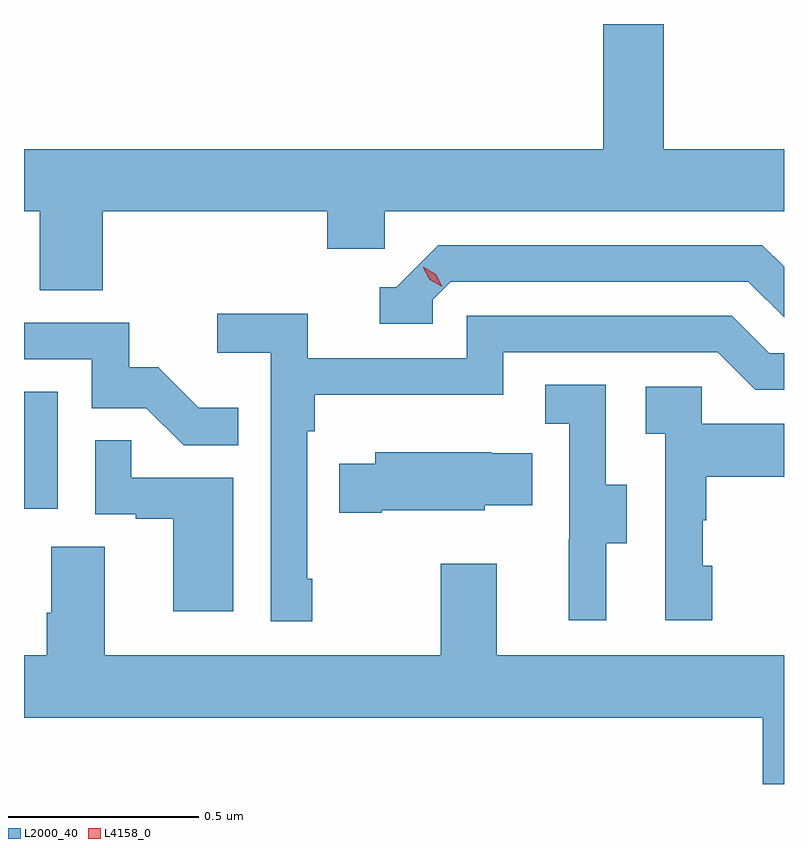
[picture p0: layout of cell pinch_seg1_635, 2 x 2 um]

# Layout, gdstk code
import gdstk
lib = gdstk.Library(unit=1e-6, precision=1e-09)
def R(c, l, rs):  # rectangles x0, y0, x1, y1
    for r in rs: c.add(gdstk.rectangle(r[:2], r[2:], *l))
def P(c, l, *ps):  # polygons
    for p in ps: c.add(gdstk.Polygon(p, *l))
L2000_40 = (2000, 40)
L4158_0 = (4158, 0)

pinch_seg1_635 = lib.new_cell('pinch_seg1_635')
R(pinch_seg1_635, L2000_40, [(1121.549,521.645,1121.638,521.953)])
P(pinch_seg1_635, L2000_40, [(1121.756,522.428),(1122.347,522.428),(1122.347,522.33),(1122.498,522.33),(1122.498,522.428),(1123.549,522.428),(1123.549,522.592),(1123.233,522.592),(1123.233,522.921),(1123.073,522.921),(1123.073,522.592),(1121.549,522.592),(1121.549,522.428),(1121.591,522.428),(1121.591,522.22),(1121.756,522.22)],
  [(1122.624,522.195),(1122.672,522.243),(1123.455,522.243),(1123.549,522.149),(1123.549,522.282),(1123.492,522.339),(1122.639,522.339),(1122.528,522.228),(1122.485,522.228),(1122.485,522.132),(1122.624,522.132)],
  [(1122.307,521.461),(1122.294,521.461),(1122.294,521.849),(1122.314,521.849),(1122.314,521.945),(1122.81,521.945),(1122.81,522.057),(1123.374,522.057),(1123.473,521.958),(1123.549,521.958),(1123.549,522.054),(1123.51,522.054),(1123.411,522.153),(1122.714,522.153),(1122.714,522.042),(1122.296,522.042),(1122.296,522.158),(1122.057,522.158),(1122.057,522.056),(1122.198,522.056),(1122.198,521.349),(1122.307,521.349)],
  [(1122.113,521.911),(1122.009,521.911),(1121.902,522.018),(1121.826,522.018),(1121.826,522.135),(1121.549,522.135),(1121.549,522.039),(1121.727,522.039),(1121.727,521.91),(1121.871,521.91),(1121.969,521.812),(1122.113,521.812)],
  [(1123.081,521.554),(1123.135,521.554),(1123.135,521.709),(1123.08,521.709),(1123.08,521.972),(1122.921,521.972),(1122.921,521.869),(1122.984,521.869),(1122.984,521.565),(1122.983,521.565),(1122.983,521.352),(1123.081,521.352)],
  [(1123.36,521.496),(1123.335,521.496),(1123.335,521.615),(1123.345,521.615),(1123.345,521.729),(1123.549,521.729),(1123.549,521.869),(1123.332,521.869),(1123.332,521.967),(1123.185,521.967),(1123.185,521.843),(1123.236,521.843),(1123.236,521.352),(1123.36,521.352)],
  [(1122.1,521.727),(1121.831,521.727),(1121.831,521.825),(1121.736,521.825),(1121.736,521.631),(1121.843,521.631),(1121.843,521.619),(1121.942,521.619),(1121.942,521.376),(1122.1,521.376)],
  [(1122.49,521.642),(1122.762,521.642),(1122.762,521.654),(1122.887,521.654),(1122.887,521.791),(1122.779,521.791),(1122.779,521.794),(1122.473,521.794),(1122.473,521.764),(1122.379,521.764),(1122.379,521.635),(1122.49,521.635)],
  [(1123.549,521.26),(1122.793,521.26),(1122.793,521.5),(1122.646,521.5),(1122.646,521.26),(1121.761,521.26),(1121.761,521.546),(1121.621,521.546),(1121.621,521.372),(1121.609,521.372),(1121.609,521.26),(1121.549,521.26),(1121.549,521.096),(1123.493,521.096),(1123.493,520.921),(1123.549,520.921)])
P(pinch_seg1_635, L4158_0, [(1122.649,522.23),(1122.617,522.248),(1122.6,522.28),(1122.6,522.281),(1122.601,522.281),(1122.632,522.262),(1122.649,522.23),(1122.649,522.23)])

lib.write_gds('pinch_seg1_635.gds')
